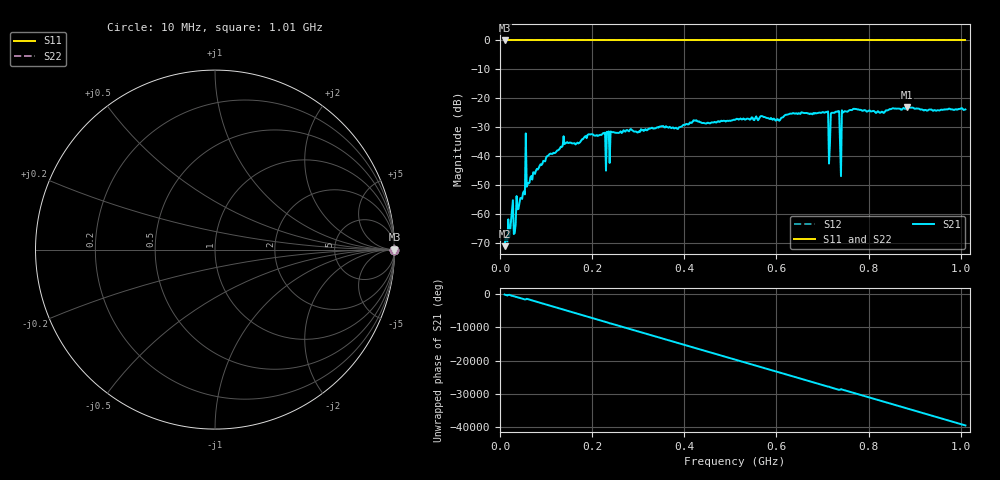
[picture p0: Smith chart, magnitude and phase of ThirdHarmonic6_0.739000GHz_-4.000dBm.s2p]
! 8/16/2025 12:43:20 AM
! C:\ANRITSUVNA\TEMP\TEMP.S2P
! CHANNEL.1
! TR.MEASUREMENT
! RAW.DATA
! RF.CORRECTION.OFF
! AVERAGING.OFF
! IF.BANDWIDTH: 5KHZ
! SWEEPTYPE:  FREQ.SWEEP(Linear)
! Reference Plane Port Info
! PORT:  PORT1  PORT2
! DISTANCE:  0  m  0  m
! TIME:  0  s  0  s
! PHASE.OFFSET:  0  deg.  0  deg.
! LOSS:  0  dB  0  dB
! REF.LOSS:  0  dB  0  dB
! REF.FREQ:  0  Hz  0  Hz
! Power Info
! POWER:  -20  dBm  -20  dBm
! EFF.POWER:  -20  dBm  -20  dBm
! SOURCE.ATTEN:  0  dB  0  dB
! TEST.ATTEN:  0  dB  0  dB
# GHZ S RI R 50.0
! FREQ.GHZ  S11RE  S11IM  S21RE  S21IM  S12RE  S12IM  S22RE  S22IM
!; PortSelection: Port_12
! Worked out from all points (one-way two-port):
!   501 points, 10 MHz to 1.01 GHz, reference 50 ohm
!   highest |S21| = -23.08 dB at 884 MHz (marker M1); lowest = -71.1 dB at 10 MHz (marker M2)
!   lowest |S11| = 0.0 dB at 10 MHz (marker M3)
!   |S11| at or under -10 dB: nowhere
!   |S22| runs from 0.0 to 0.0 dB; largest |S21 - S12| = 1.1
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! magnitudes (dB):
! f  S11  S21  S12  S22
! 10 MHz  0.0  -71.1  0.0  0.0
! 24 MHz  0.0  -62.2  0.0  0.0
! 34 MHz  0.0  -63.5  0.0  0.0
! 60 MHz  0.0  -49.3  0.0  0.0
! 178 MHz  0.0  -34.2  0.0  0.0
! 224 MHz  0.0  -32.0  0.0  0.0
! 234 MHz  0.0  -31.8  0.0  0.0
! 244 MHz  0.0  -31.7  0.0  0.0
! 344 MHz  0.0  -30.1  0.0  0.0
! 510 MHz  0.0  -27.5  0.0  0.0
! 678 MHz  0.0  -25.5  0.0  0.0
! 708 MHz  0.0  -24.7  0.0  0.0
! 712 MHz  0.0  -24.5  0.0  0.0
! 718 MHz  0.0  -25.2  0.0  0.0
! 722 MHz  0.0  -25.0  0.0  0.0
! 732 MHz  0.0  -24.7  0.0  0.0
! 736 MHz  0.0  -24.5  0.0  0.0
! 742 MHz  0.0  -24.1  0.0  0.0
! 746 MHz  0.0  -24.7  0.0  0.0
! 844 MHz  0.0  -23.9  0.0  0.0
! 884 MHz  0.0  -23.1  0.0  0.0
! 1.01 GHz  0.0  -23.8  0.0  0.0
